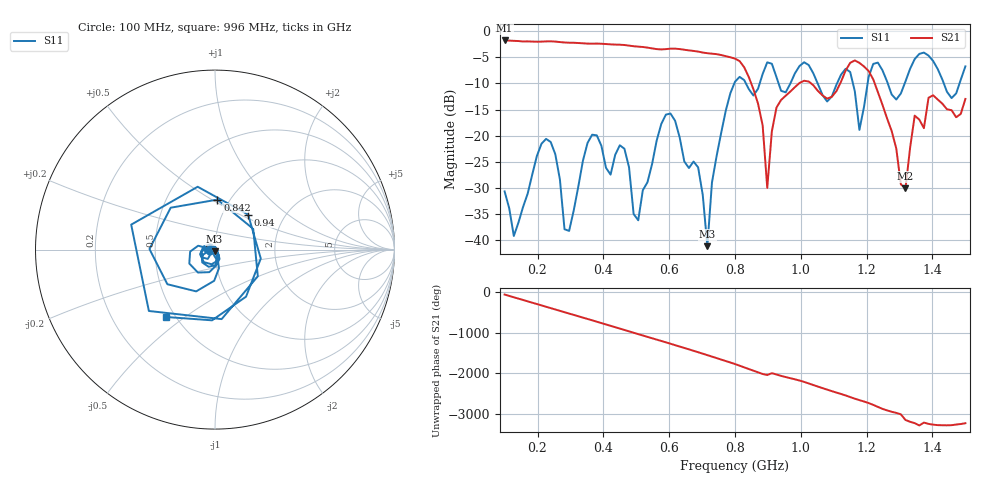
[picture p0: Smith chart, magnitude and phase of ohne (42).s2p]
! NanoVNA-App
! Date: 2025-09-25 14:21:07
! Start: 100MHz Stop: 1,5GHz Points: 101
! S-Parameter data: F S11 S21 S12 S22
# Hz S RI R 50
!  Frequency  S11_Real  S11_Imag  S21_Real  S21_Imag  S12_Real  S12_Imag  S22_Real  S22_Imag
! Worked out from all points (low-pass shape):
!   101 points, 100 MHz to 1.5 GHz, reference 50 ohm
!   highest |S21| = -1.79 dB at 100 MHz (marker M1); lowest = -30.1 dB at 1.318 GHz (marker M2)
!   |S21| within 3 dB of the highest: start of sweep to 771.6 MHz
!   lowest |S11| = -41.1 dB at 716 MHz (marker M3), VSWR 1.02, Z = 49.8 - j0.842 ohm
!   |S11| at or under -10 dB: start of sweep to 797.9 MHz; 833.1 MHz to 875.1 MHz (42 MHz wide, 4.92 % of centre); 1.051 GHz to 1.11 GHz (58.96 MHz wide, 5.46 % of centre) (the widest 3 of 7)
!   S12 and S22 are empty: the file has one direction only
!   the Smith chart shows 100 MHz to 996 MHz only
!   S11 on the Smith chart (normalised r, x): 100 MHz: 0.94, -0.01; 842 MHz: 0.88, +0.53; 940 MHz: 1.32, +0.56; 996 MHz: 0.45, -0.43
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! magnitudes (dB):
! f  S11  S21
! 100 MHz  -30.6  -1.8
! 128 MHz  -39.2  -1.9
! 226 MHz  -20.6  -2.0
! 296 MHz  -38.2  -2.2
! 338 MHz  -24.8  -2.3
! 464 MHz  -22.5  -2.7
! 506 MHz  -36.2  -3.0
! 576 MHz  -17.8  -3.5
! 688 MHz  -26.0  -3.9
! 716 MHz  -41.1  -4.2
! 800 MHz  -9.7  -5.3
! 842 MHz  -11.1  -8.8
! 898 MHz  -6.0  -30.0
! 940 MHz  -11.4  -13.2
! 996 MHz  -6.7  -9.9
! 1.038 GHz  -8.1  -10.4
! 1.178 GHz  -18.9  -6.1
! 1.22 GHz  -6.3  -9.2
! 1.276 GHz  -12.1  -19.1
! 1.318 GHz  -9.6  -30.1
! 1.346 GHz  -5.4  -16.2
! 1.5 GHz  -6.7  -13.0
